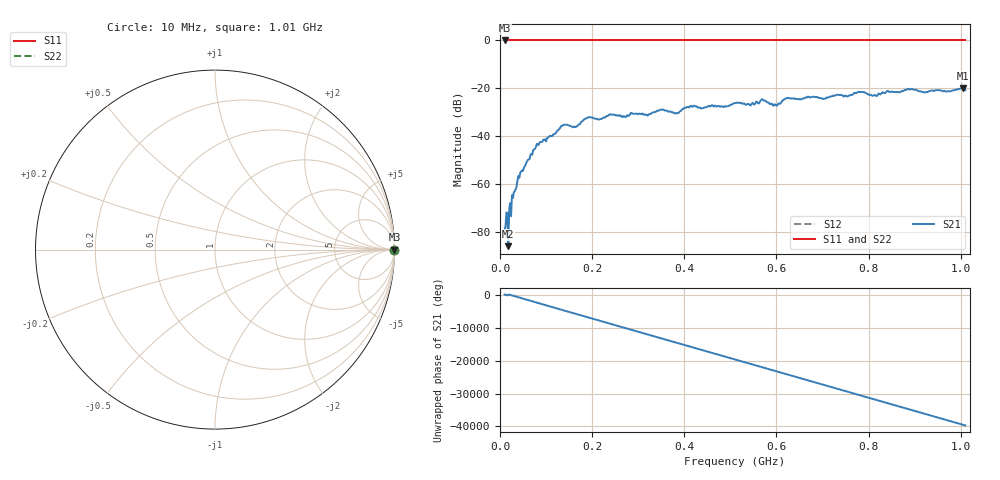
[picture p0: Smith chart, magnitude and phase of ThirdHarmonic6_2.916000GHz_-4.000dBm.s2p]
! 8/17/2025 8:05:59 AM
! C:\ANRITSUVNA\TEMP\TEMP.S2P
! CHANNEL.1
! TR.MEASUREMENT
! RAW.DATA
! RF.CORRECTION.OFF
! AVERAGING.OFF
! IF.BANDWIDTH: 5KHZ
! SWEEPTYPE:  FREQ.SWEEP(Linear)
! Reference Plane Port Info
! PORT:  PORT1  PORT2
! DISTANCE:  0  m  0  m
! TIME:  0  s  0  s
! PHASE.OFFSET:  0  deg.  0  deg.
! LOSS:  0  dB  0  dB
! REF.LOSS:  0  dB  0  dB
! REF.FREQ:  0  Hz  0  Hz
! Power Info
! POWER:  -20  dBm  -20  dBm
! EFF.POWER:  -20  dBm  -20  dBm
! SOURCE.ATTEN:  0  dB  0  dB
! TEST.ATTEN:  0  dB  0  dB
# GHZ S RI R 50.0
! FREQ.GHZ  S11RE  S11IM  S21RE  S21IM  S12RE  S12IM  S22RE  S22IM
!; PortSelection: Port_12
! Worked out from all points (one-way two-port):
!   501 points, 10 MHz to 1.01 GHz, reference 50 ohm
!   highest |S21| = -19.82 dB at 1.004 GHz (marker M1); lowest = -85.8 dB at 18 MHz (marker M2)
!   lowest |S11| = 0.0 dB at 10 MHz (marker M3)
!   |S11| at or under -10 dB: nowhere
!   |S22| runs from 0.0 to 0.0 dB; largest |S21 - S12| = 1.1
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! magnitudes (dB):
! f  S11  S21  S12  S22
! 10 MHz  0.0  -78.9  0.0  0.0
! 18 MHz  0.0  -85.8  0.0  0.0
! 20 MHz  0.0  -70.4  0.0  0.0
! 30 MHz  0.0  -63.3  0.0  0.0
! 42 MHz  0.0  -57.3  0.0  0.0
! 76 MHz  0.0  -45.2  0.0  0.0
! 136 MHz  0.0  -35.5  0.0  0.0
! 162 MHz  0.0  -35.9  0.0  0.0
! 178 MHz  0.0  -33.7  0.0  0.0
! 344 MHz  0.0  -29.3  0.0  0.0
! 384 MHz  0.0  -30.3  0.0  0.0
! 410 MHz  0.0  -27.9  0.0  0.0
! 510 MHz  0.0  -26.1  0.0  0.0
! 570 MHz  0.0  -24.6  0.0  0.0
! 598 MHz  0.0  -26.7  0.0  0.0
! 622 MHz  0.0  -24.0  0.0  0.0
! 678 MHz  0.0  -23.5  0.0  0.0
! 782 MHz  0.0  -21.5  0.0  0.0
! 814 MHz  0.0  -22.7  0.0  0.0
! 844 MHz  0.0  -21.4  0.0  0.0
! 1.004 GHz  0.0  -19.8  0.0  0.0
! 1.01 GHz  0.0  -20.7  0.0  0.0
